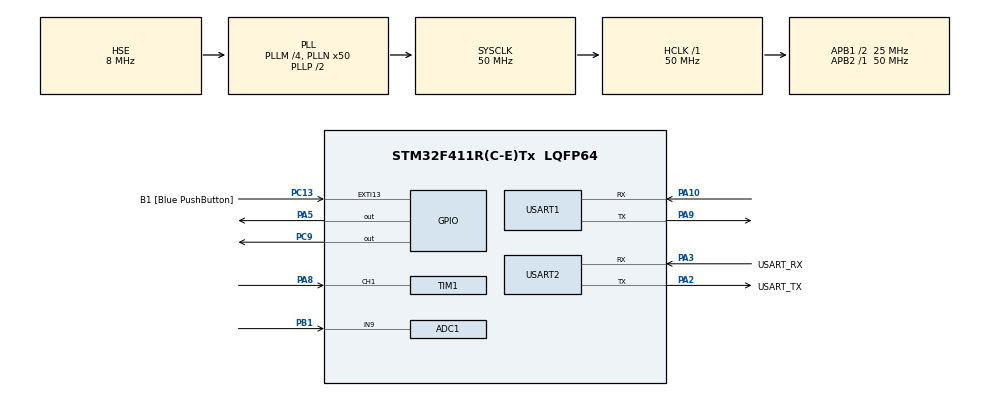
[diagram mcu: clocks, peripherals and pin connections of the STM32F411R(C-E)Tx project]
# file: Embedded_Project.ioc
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ADC1.Channel-0\#ChannelRegularConversion=ADC_CHANNEL_9
ADC1.ContinuousConvMode=DISABLE
ADC1.NbrOfConversionFlag=1
ADC1.Rank-0\#ChannelRegularConversion=1
ADC1.SamplingTime-0\#ChannelRegularConversion=ADC_SAMPLETIME_3CYCLES
ADC1.master=1
Mcu.Family=STM32F4
Mcu.Name=STM32F411R(C-E)Tx
Mcu.Package=LQFP64
NVIC.PriorityGroup=NVIC_PRIORITYGROUP_0
NVIC.TIM1_CC_IRQn=true\:0\:0\:false\:false\:true\:true\:true
NVIC.USART2_IRQn=true\:0\:0\:false\:false\:true\:true\:true
PA10.Mode=Asynchronous
PA10.Signal=USART1_RX
PA13.GPIO_Label=TMS
PA13.Mode=Serial_Wire
PA13.Signal=SYS_JTMS-SWDIO
PA14.GPIO_Label=TCK
PA14.Mode=Serial_Wire
PA14.Signal=SYS_JTCK-SWCLK
PA2.GPIO_Label=USART_TX
PA2.Mode=Asynchronous
PA2.Signal=USART2_TX
PA3.GPIO_Label=USART_RX
PA3.Mode=Asynchronous
PA3.Signal=USART2_RX
PA5.Signal=GPIO_Output
PA8.Signal=S_TIM1_CH1
PA9.Mode=Asynchronous
PA9.Signal=USART1_TX
PB1.Signal=ADCx_IN9
PB3.GPIO_Label=SWO
PB3.Signal=SYS_JTDO-SWO
PC13-ANTI_TAMP.GPIO_Label=B1 [Blue PushButton]
PC13-ANTI_TAMP.GPIO_ModeDefaultEXTI=GPIO_MODE_IT_FALLING
PC13-ANTI_TAMP.Signal=GPXTI13
PC14-OSC32_IN.Signal=RCC_OSC32_IN
PC15-OSC32_OUT.Signal=RCC_OSC32_OUT
PC9.Signal=GPIO_Output
PH0\ -\ OSC_IN.Mode=HSE-External-Oscillator
PH0\ -\ OSC_IN.Signal=RCC_OSC_IN
PH1\ -\ OSC_OUT.Mode=HSE-External-Oscillator
PH1\ -\ OSC_OUT.Signal=RCC_OSC_OUT
ProjectManager.HeapSize=0x200
ProjectManager.StackSize=0x400
ProjectManager.TargetToolchain=STM32CubeIDE
RCC.48MHZClocksFreq_Value=25000000
RCC.AHBFreq_Value=50000000
RCC.APB1CLKDivider=RCC_HCLK_DIV2
RCC.APB1Freq_Value=25000000
RCC.APB1TimFreq_Value=50000000
RCC.APB2Freq_Value=50000000
RCC.APB2TimFreq_Value=50000000
RCC.CortexFreq_Value=50000000
RCC.FLatency-AdvancedSettings=FLASH_LATENCY_1
RCC.HCLKFreq_Value=50000000
RCC.HSE_VALUE=8000000
RCC.HSI_VALUE=16000000
RCC.LSE_VALUE=32768
RCC.PLLM=4
RCC.PLLN=50
RCC.PLLSourceVirtual=RCC_PLLSOURCE_HSE
RCC.SYSCLKFreq_VALUE=50000000
RCC.SYSCLKSource=RCC_SYSCLKSOURCE_PLLCLK
RCC.VCOOutputFreq_Value=100000000
SH.ADCx_IN9.0=ADC1_IN9,IN9
SH.S_TIM1_CH1.0=TIM1_CH1,Input_Capture1_from_TI1
TIM1.Channel-Input_Capture1_from_TI1=TIM_CHANNEL_1
TIM1.Period=0xffff-1
TIM1.Prescaler=50-1
USART1.VirtualMode=VM_ASYNC
USART2.VirtualMode=VM_ASYNC
board=NUCLEO-F411RE

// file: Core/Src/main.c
/* USER CODE BEGIN Header */
/**
  ******************************************************************************
  * @file           : main.c
  * @brief          : Main program body
  ******************************************************************************
  * @attention
  *
  * Copyright (c) 2022 STMicroelectronics.
  * All rights reserved.
  *
  * This software is licensed under terms that can be found in the LICENSE file
  * in the root directory of this software component.
  * If no LICENSE file comes with this software, it is provided AS-IS.
  *
  ******************************************************************************
  */
/* USER CODE END Header */
#include "main.h"

/* USER CODE BEGIN Includes */
#include "ESP8266_HAL.h"
/* USER CODE END Includes */

ADC_HandleTypeDef hadc1;

TIM_HandleTypeDef htim1;

UART_HandleTypeDef huart1;
UART_HandleTypeDef huart2;

void SystemClock_Config(void);
static void MX_GPIO_Init(void);
static void MX_USART2_UART_Init(void);
static void MX_TIM1_Init(void);
static void MX_ADC1_Init(void);
static void MX_USART1_UART_Init(void);

/* USER CODE BEGIN 0 */
char uart_recv;
void HAL_UART_RxCpltCallback(UART_HandleTypeDef *huart){
	 if(huart==&huart1){
		 if(uart_recv==1){
		 		HAL_GPIO_WritePin(GPIOA,GPIO_PIN_5,GPIO_PIN_SET);
		 }else{
		 		HAL_GPIO_WritePin(GPIOA,GPIO_PIN_5,GPIO_PIN_RESET);
		 }
		 HAL_UART_Receive_IT(&huart1,&uart_recv,1);
	 }
 }
void delay(uint16_t time){
	__HAL_TIM_SET_COUNTER(&htim1,0);
	while(__HAL_TIM_GET_COUNTER (&htim1)<time);
}
uint32_t IC_Val1 = 0;
uint32_t IC_Val2 = 0;
uint32_t Difference = 0;
uint8_t Is_First_Captured = 0;  // is the first value captured ?
uint8_t Distance  = 0;

#define TRIG_PIN GPIO_PIN_9
#define TRIG_PORT GPIOC

// Let's write the callback function

void HAL_TIM_IC_CaptureCallback(TIM_HandleTypeDef *htim)
{
	if (htim->Channel == HAL_TIM_ACTIVE_CHANNEL_1)  // if the interrupt source is channel1
	{
		if (Is_First_Captured==0) // if the first value is not captured
		{
			IC_Val1 = HAL_TIM_ReadCapturedValue(htim, TIM_CHANNEL_1); // read the first value
			Is_First_Captured = 1;  // set the first captured as true
			// Now change the polarity to falling edge
			__HAL_TIM_SET_CAPTUREPOLARITY(htim, TIM_CHANNEL_1, TIM_INPUTCHANNELPOLARITY_FALLING);
		}

		else if (Is_First_Captured==1)   // if the first is already captured
		{
			IC_Val2 = HAL_TIM_ReadCapturedValue(htim, TIM_CHANNEL_1);  // read second value
			__HAL_TIM_SET_COUNTER(htim, 0);  // reset the counter

			if (IC_Val2 > IC_Val1)
			{
				Difference = IC_Val2-IC_Val1;
			}

			else if (IC_Val1 > IC_Val2)
			{
				Difference = (0xffff - IC_Val1) + IC_Val2;
			}

			Distance = Difference * .034/2;
			Is_First_Captured = 0; // set it back to false

			// set polarity to rising edge
			__HAL_TIM_SET_CAPTUREPOLARITY(htim, TIM_CHANNEL_1, TIM_INPUTCHANNELPOLARITY_RISING);
			__HAL_TIM_DISABLE_IT(&htim1, TIM_IT_CC1);
		}
	}
}
void HCSR04_Read (void)
{
	HAL_GPIO_WritePin(TRIG_PORT, TRIG_PIN, GPIO_PIN_SET);  // pull the TRIG pin HIGH
	delay(10);  // wait for 10 us
	HAL_GPIO_WritePin(TRIG_PORT, TRIG_PIN, GPIO_PIN_RESET);  // pull the TRIG pin low

	__HAL_TIM_ENABLE_IT(&htim1, TIM_IT_CC1);
}
/* USER CODE END 0 */

int main(void)
{

  /* MCU Configuration--------------------------------------------------------*/

  /* Reset of all peripherals, Initializes the Flash interface and the Systick. */
  HAL_Init();

  /* Configure the system clock */
  SystemClock_Config();

  /* Initialize all configured peripherals */
  MX_GPIO_Init();
  MX_USART2_UART_Init();
  MX_TIM1_Init();
  MX_ADC1_Init();
  MX_USART1_UART_Init();
  /* USER CODE BEGIN 2 */
  HAL_UART_Receive_IT(&huart1,&uart_recv,1);
  HAL_TIM_IC_Start_IT(&htim1,TIM_CHANNEL_1);
  uint32_t readValue;
  /* USER CODE END 2 */

  /* Infinite loop */
  /* USER CODE BEGIN WHILE */
  char buffer[32];
  while (1)
  {
    /* USER CODE END WHILE */

    /* USER CODE BEGIN 3 */
	  HCSR04_Read();
	  HAL_ADC_Start(&hadc1);
	  	if (HAL_ADC_PollForConversion(&hadc1,1000000) == HAL_OK){
	  		readValue = HAL_ADC_GetValue(&hadc1);
	  	}
	  sprintf(buffer,"<%d,%d>",readValue,Distance);
	  HAL_UART_Transmit(&huart1,buffer,strlen(buffer),100);
	  HAL_UART_Transmit(&huart2,buffer,strlen(buffer),100);
	  HAL_Delay(1000);

  }
  /* USER CODE END 3 */
}

void SystemClock_Config(void)
{
  RCC_OscInitTypeDef RCC_OscInitStruct = {0};
  RCC_ClkInitTypeDef RCC_ClkInitStruct = {0};

  /** Configure the main internal regulator output voltage
  */
  __HAL_RCC_PWR_CLK_ENABLE();
  __HAL_PWR_VOLTAGESCALING_CONFIG(PWR_REGULATOR_VOLTAGE_SCALE1);
  /** Initializes the RCC Oscillators according to the specified parameters
  * in the RCC_OscInitTypeDef structure.
  */
  RCC_OscInitStruct.OscillatorType = RCC_OSCILLATORTYPE_HSE;
  RCC_OscInitStruct.HSEState = RCC_HSE_ON;
  RCC_OscInitStruct.PLL.PLLState = RCC_PLL_ON;
  RCC_OscInitStruct.PLL.PLLSource = RCC_PLLSOURCE_HSE;
  RCC_OscInitStruct.PLL.PLLM = 4;
  RCC_OscInitStruct.PLL.PLLN = 50;
  RCC_OscInitStruct.PLL.PLLP = RCC_PLLP_DIV2;
  RCC_OscInitStruct.PLL.PLLQ = 4;
  if (HAL_RCC_OscConfig(&RCC_OscInitStruct) != HAL_OK)
  {
    Error_Handler();
  }
  /** Initializes the CPU, AHB and APB buses clocks
  */
  RCC_ClkInitStruct.ClockType = RCC_CLOCKTYPE_HCLK|RCC_CLOCKTYPE_SYSCLK
                              |RCC_CLOCKTYPE_PCLK1|RCC_CLOCKTYPE_PCLK2;
  RCC_ClkInitStruct.SYSCLKSource = RCC_SYSCLKSOURCE_PLLCLK;
  RCC_ClkInitStruct.AHBCLKDivider = RCC_SYSCLK_DIV1;
  RCC_ClkInitStruct.APB1CLKDivider = RCC_HCLK_DIV2;
  RCC_ClkInitStruct.APB2CLKDivider = RCC_HCLK_DIV1;

  if (HAL_RCC_ClockConfig(&RCC_ClkInitStruct, FLASH_LATENCY_1) != HAL_OK)
  {
    Error_Handler();
  }
}

static void MX_ADC1_Init(void)
{

  ADC_ChannelConfTypeDef sConfig = {0};

  /** Configure the global features of the ADC (Clock, Resolution, Data Alignment and number of conversion)
  */
  hadc1.Instance = ADC1;
  hadc1.Init.ClockPrescaler = ADC_CLOCK_SYNC_PCLK_DIV2;
  hadc1.Init.Resolution = ADC_RESOLUTION_12B;
  hadc1.Init.ScanConvMode = DISABLE;
  hadc1.Init.ContinuousConvMode = DISABLE;
  hadc1.Init.DiscontinuousConvMode = DISABLE;
  hadc1.Init.ExternalTrigConvEdge = ADC_EXTERNALTRIGCONVEDGE_NONE;
  hadc1.Init.ExternalTrigConv = ADC_SOFTWARE_START;
  hadc1.Init.DataAlign = ADC_DATAALIGN_RIGHT;
  hadc1.Init.NbrOfConversion = 1;
  hadc1.Init.DMAContinuousRequests = DISABLE;
  hadc1.Init.EOCSelection = ADC_EOC_SINGLE_CONV;
  if (HAL_ADC_Init(&hadc1) != HAL_OK)
  {
    Error_Handler();
  }
  /** Configure for the selected ADC regular channel its corresponding rank in the sequencer and its sample time.
  */
  sConfig.Channel = ADC_CHANNEL_9;
  sConfig.Rank = 1;
  sConfig.SamplingTime = ADC_SAMPLETIME_3CYCLES;
  if (HAL_ADC_ConfigChannel(&hadc1, &sConfig) != HAL_OK)
  {
    Error_Handler();
  }

}

static void MX_TIM1_Init(void)
{

  TIM_MasterConfigTypeDef sMasterConfig = {0};
  TIM_IC_InitTypeDef sConfigIC = {0};

  htim1.Instance = TIM1;
  htim1.Init.Prescaler = 50-1;
  htim1.Init.CounterMode = TIM_COUNTERMODE_UP;
  htim1.Init.Period = 0xffff-1;
  htim1.Init.ClockDivision = TIM_CLOCKDIVISION_DIV1;
  htim1.Init.RepetitionCounter = 0;
  htim1.Init.AutoReloadPreload = TIM_AUTORELOAD_PRELOAD_DISABLE;
  if (HAL_TIM_IC_Init(&htim1) != HAL_OK)
  {
    Error_Handler();
  }
  sMasterConfig.MasterOutputTrigger = TIM_TRGO_RESET;
  sMasterConfig.MasterSlaveMode = TIM_MASTERSLAVEMODE_DISABLE;
  if (HAL_TIMEx_MasterConfigSynchronization(&htim1, &sMasterConfig) != HAL_OK)
  {
    Error_Handler();
  }
  sConfigIC.ICPolarity = TIM_INPUTCHANNELPOLARITY_RISING;
  sConfigIC.ICSelection = TIM_ICSELECTION_DIRECTTI;
  sConfigIC.ICPrescaler = TIM_ICPSC_DIV1;
  sConfigIC.ICFilter = 0;
  if (HAL_TIM_IC_ConfigChannel(&htim1, &sConfigIC, TIM_CHANNEL_1) != HAL_OK)
  {
    Error_Handler();
  }

}

static void MX_USART1_UART_Init(void)
{

  huart1.Instance = USART1;
  huart1.Init.BaudRate = 115200;
  huart1.Init.WordLength = UART_WORDLENGTH_8B;
  huart1.Init.StopBits = UART_STOPBITS_1;
  huart1.Init.Parity = UART_PARITY_NONE;
  huart1.Init.Mode = UART_MODE_TX_RX;
  huart1.Init.HwFlowCtl = UART_HWCONTROL_NONE;
  huart1.Init.OverSampling = UART_OVERSAMPLING_16;
  if (HAL_UART_Init(&huart1) != HAL_OK)
  {
    Error_Handler();
  }

}

static void MX_USART2_UART_Init(void)
{

  huart2.Instance = USART2;
  huart2.Init.BaudRate = 115200;
  huart2.Init.WordLength = UART_WORDLENGTH_8B;
  huart2.Init.StopBits = UART_STOPBITS_1;
  huart2.Init.Parity = UART_PARITY_NONE;
  huart2.Init.Mode = UART_MODE_TX_RX;
  huart2.Init.HwFlowCtl = UART_HWCONTROL_NONE;
  huart2.Init.OverSampling = UART_OVERSAMPLING_16;
  if (HAL_UART_Init(&huart2) != HAL_OK)
  {
    Error_Handler();
  }

}

static void MX_GPIO_Init(void)
{
  GPIO_InitTypeDef GPIO_InitStruct = {0};

  /* GPIO Ports Clock Enable */
  __HAL_RCC_GPIOC_CLK_ENABLE();
  __HAL_RCC_GPIOH_CLK_ENABLE();
  __HAL_RCC_GPIOA_CLK_ENABLE();
  __HAL_RCC_GPIOB_CLK_ENABLE();

  /*Configure GPIO pin Output Level */
  HAL_GPIO_WritePin(GPIOA, GPIO_PIN_5, GPIO_PIN_RESET);

  /*Configure GPIO pin Output Level */
  HAL_GPIO_WritePin(GPIOC, GPIO_PIN_9, GPIO_PIN_RESET);

  /*Configure GPIO pin : B1_Pin */
  GPIO_InitStruct.Pin = B1_Pin;
  GPIO_InitStruct.Mode = GPIO_MODE_IT_FALLING;
  GPIO_InitStruct.Pull = GPIO_NOPULL;
  HAL_GPIO_Init(B1_GPIO_Port, &GPIO_InitStruct);

  /*Configure GPIO pin : PA5 */
  GPIO_InitStruct.Pin = GPIO_PIN_5;
  GPIO_InitStruct.Mode = GPIO_MODE_OUTPUT_PP;
  GPIO_InitStruct.Pull = GPIO_NOPULL;
  GPIO_InitStruct.Speed = GPIO_SPEED_FREQ_LOW;
  HAL_GPIO_Init(GPIOA, &GPIO_InitStruct);

  /*Configure GPIO pin : PC9 */
  GPIO_InitStruct.Pin = GPIO_PIN_9;
  GPIO_InitStruct.Mode = GPIO_MODE_OUTPUT_PP;
  GPIO_InitStruct.Pull = GPIO_NOPULL;
  GPIO_InitStruct.Speed = GPIO_SPEED_FREQ_LOW;
  HAL_GPIO_Init(GPIOC, &GPIO_InitStruct);

}

void Error_Handler(void)
{
  __disable_irq();
  while (1)
  {
  }
}
